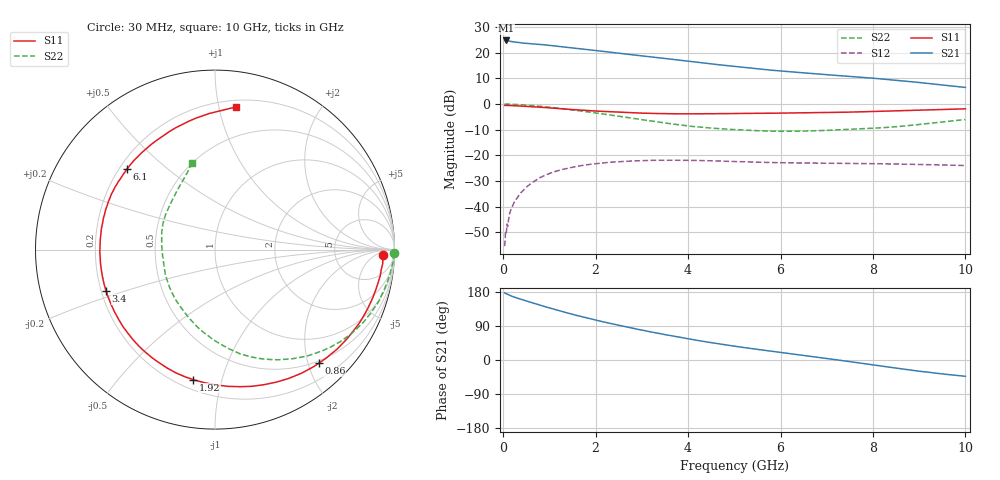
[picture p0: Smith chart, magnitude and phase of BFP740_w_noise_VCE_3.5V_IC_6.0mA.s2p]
! Infineon Technologies  Discrete & RF Semiconductors
! BFP740
! VCE =  3.5 V,  IC =  6.0 mA
! Common Emitter S-Parameters:  Jan 2016
# GHz  S  MA  R  50
!  f  S11  S21  S12  S22
! GHz  MAG  ANG  MAG  ANG  MAG  ANG  MAG  ANG
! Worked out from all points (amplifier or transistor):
!   229 points, 30 MHz to 10 GHz, reference 50 ohm
!   highest |S21| = 24.7 dB at 60 MHz (marker M1)
!   |S21| within 3 dB of that: start of sweep to 1.552 GHz
!   unconditionally stable (mu >= 1): 7.732 GHz to end of sweep
!   at 280 MHz: K = 0.10, MSG = 30.6 dB, |S12| = -37.1 dB
!   at 1.78 GHz: K = 0.25, MSG = 22.5 dB, |S12| = -23.8 dB
!   at 10 GHz: K = 1.13, MAG = 13.0 dB, |S12| = -24.0 dB
!   lowest NFmin = 0.45 dB at 450 MHz
!   S11 on the Smith chart (normalised r, x): 30 MHz: 25, -13; 860 MHz: 0.46, -2.18; 1.92 GHz: 0.26, -0.81; 3.4 GHz: 0.22, -0.17; 6.1 GHz: 0.23, +0.37; 10 GHz: 0.25, +1.13
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0.03  0.939 -1.8  17.2 177.1  0.0017 63.7  0.9958 -1.2
0.06  0.9367 -3.5  17.24 175.2  0.0031 105.0  0.9953 -2.3
0.12  0.9322 -7.2  16.93 171.6  0.0059 83.6  0.9912 -4.9
0.2  0.927 -11.7  16.3 167.7  0.0102 82.1  0.9841 -8.0
0.36  0.9128 -20.6  15.59 161.1  0.0177 76.5  0.9672 -14.0
0.6  0.8886 -33.7  14.91 152.0  0.0283 68.8  0.9358 -22.5
0.86  0.8571 -47.7  14.25 142.4  0.0391 60.3  0.8923 -31.5
1.1  0.8269 -60.2  13.54 133.8  0.0476 53.3  0.8449 -39.7
1.3  0.8007 -70.0  12.88 127.0  0.0535 47.6  0.8047 -45.9
1.7  0.7546 -89.3  11.79 114.3  0.0633 37.8  0.726 -57.3
1.92  0.7345 -99.4  11.21 107.9  0.0674 32.9  0.6829 -63.7
2.26  0.7064 -114.4  10.32 98.0  0.0726 25.5  0.6201 -72.9
2.54  0.688 -126.0  9.625 90.6  0.0752 20.2  0.5703 -80.2
2.92  0.6668 -141.1  8.812 80.8  0.0782 13.7  0.5077 -90.0
3.4  0.6491 -159.2  7.868 69.3  0.0801 6.1  0.4395 -103.4
3.8  0.6428 -172.8  7.152 60.3  0.0803 0.6  0.3925 -114.7
4.2  0.6417 175.0  6.486 51.8  0.0794 -4.3  0.3588 -126.5
5.1  0.6524 153.6  5.267 34.7  0.0755 -12.5  0.3138 -149.9
6.1  0.665 137.6  4.307 18.4  0.0716 -17.8  0.2941 -172.9
6.8  0.6769 127.2  3.832 7.2  0.0704 -20.9  0.3009 170.8
8.4  0.7307 101.3  2.95 -19.7  0.0679 -28.0  0.3544 135.0
10  0.8033 81.5  2.098 -43.0  0.0632 -32.2  0.4985 104.9
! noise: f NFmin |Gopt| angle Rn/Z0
0.45  0.45  0.36  10  0.21
0.9  0.46  0.37  17  0.2
1.5  0.49  0.35  25  0.19
1.9  0.52  0.34  42  0.19
2.4  0.55  0.34  46  0.18
3.5  0.65  0.31  66  0.17
5.5  0.86  0.22  171  0.15
10  1.45  0.54  -80  0.2
